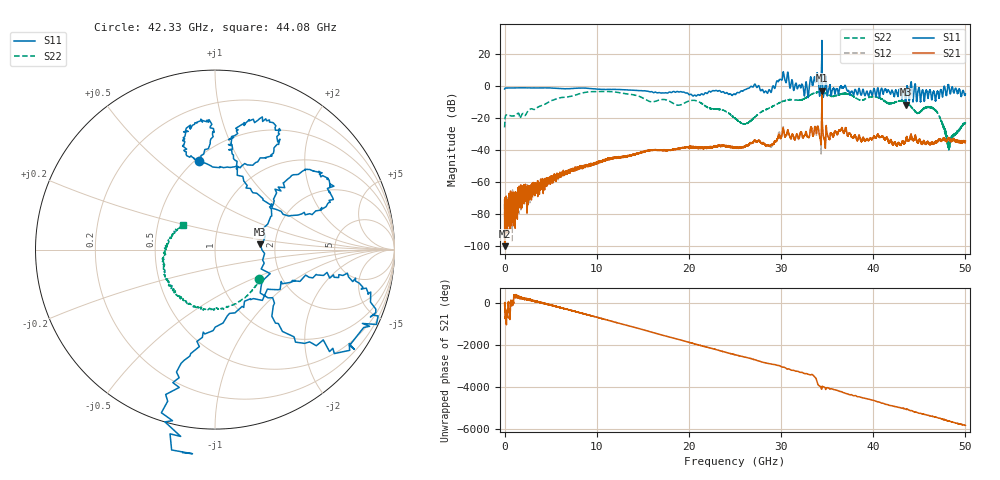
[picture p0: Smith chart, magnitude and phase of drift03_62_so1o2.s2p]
!Created with skrf (http://scikit-rf.org).
# Hz S RI R 50.0
!freq ReS11 ImS11 ReS21 ImS21 ReS12 ImS12 ReS22 ImS22
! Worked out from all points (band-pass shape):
!   10000 points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, 5.3 MHz to 50 GHz, reference 50 ohm
!   highest |S21| = -3.04 dB at 34.43 GHz (marker M1); lowest = -100.3 dB at 15.3 MHz (marker M2)
!   |S21| within 3 dB of the highest: 34.42737 GHz to 34.43453 GHz (7.156 MHz wide, 0.0208 % of centre)
!   lowest |S11| = -11.9 dB at 43.52 GHz (marker M3), VSWR 1.68, Z = 83.4 + j5.22 ohm
!   |S11| at or under -10 dB: 43.48726 GHz to 43.54345 GHz (56.19 MHz wide, 0.129 % of centre); 43.55 GHz to 43.55011 GHz (111 kHz wide, 0.000255 % of centre); 44.31263 GHz to 44.31609 GHz (3.454 MHz wide, 0.00779 % of centre) (the widest 3 of 4)
!   |S22| runs from -40.2 to -3.6 dB; largest |S21 - S12| = 0.22
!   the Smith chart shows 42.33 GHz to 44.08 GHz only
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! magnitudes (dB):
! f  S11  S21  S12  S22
! 5.3 MHz  -2.1  -71.4  -82.4  -26.1
! 15.3 MHz  -2.0  -100.3  -74.6  -24.9
! 320.3 MHz  -1.4  -79.1  -78.7  -18.2
! 2.21 GHz  -1.3  -69.9  -69.2  -18.7
! 8.34 GHz  -1.5  -51.2  -51.1  -4.7
! 16.67 GHz  -4.4  -40.3  -40.2  -9.2
! 20.74 GHz  -6.3  -38.6  -38.4  -9.4
! 25.01 GHz  -5.5  -38.9  -38.7  -20.5
! 26.22 GHz  -2.3  -37.5  -37.6  -23.7
! 28.72 GHz  -2.5  -37.7  -37.6  -14.1
! 30.14 GHz  4.4  -29.5  -29.8  -9.9
! 32.74 GHz  2.0  -29.5  -29.3  -7.4
! 33.34 GHz  2.7  -27.4  -27.8  -5.2
! 33.82 GHz  4.0  -29.2  -29.6  -4.3
! 34.43 GHz  28.3  -3.0  -5.2  -4.0
! 36.48 GHz  -0.5  -28.0  -28.0  -5.4
! 41.67 GHz  -2.9  -35.6  -35.6  -11.0
! 43.52 GHz  -11.9  -34.6  -34.5  -10.4
! 44.78 GHz  -7.0  -35.2  -35.2  -17.2
! 46.67 GHz  -5.6  -35.6  -35.7  -14.8
! 48.22 GHz  -0.3  -33.1  -33.1  -38.5
! 50 GHz  -5.3  -34.5  -35.2  -23.5
